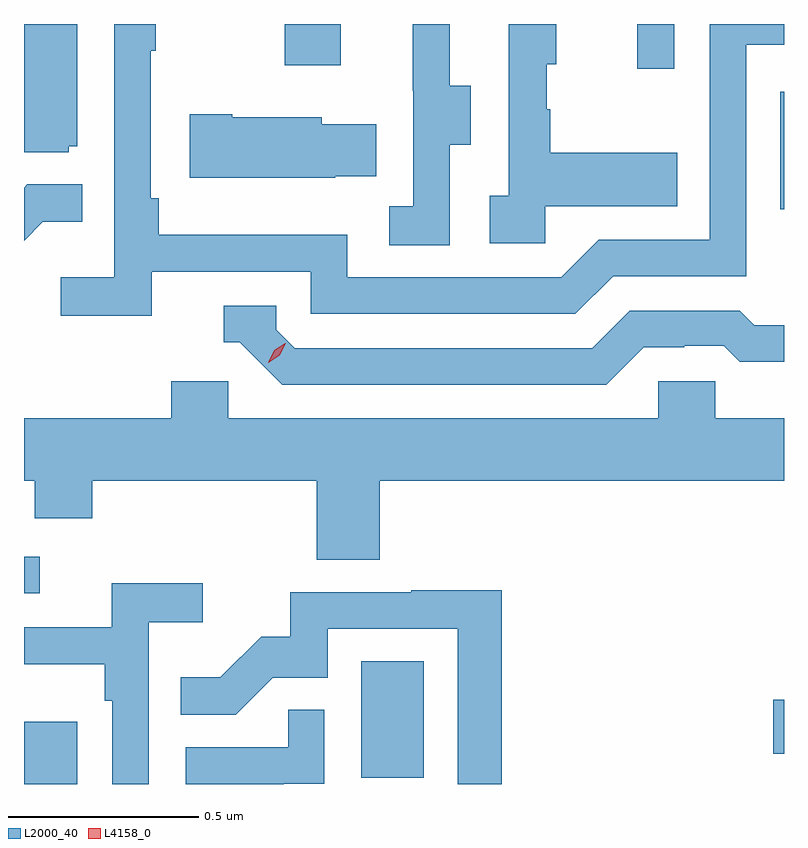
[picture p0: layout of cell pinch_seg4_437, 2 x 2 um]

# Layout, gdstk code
import gdstk
lib = gdstk.Library(unit=1e-6, precision=1e-09)
def R(c, l, rs):  # rectangles x0, y0, x1, y1
    for r in rs: c.add(gdstk.rectangle(r[:2], r[2:], *l))
def P(c, l, *ps):  # polygons
    for p in ps: c.add(gdstk.Polygon(p, *l))
L2000_40 = (2000, 40)
L4158_0 = (4158, 0)

pinch_seg4_437 = lib.new_cell('pinch_seg4_437')
R(pinch_seg4_437, L2000_40, [(913.28,785.366,913.42,785.53), (914.168,785.382,914.332,785.689), (915.252,785.446,915.28,785.588), (913.28,785.868,913.321,785.964), (915.27,786.879,915.28,787.188), (914.894,787.248,914.991,787.366), (913.966,787.257,914.113,787.366)])
P(pinch_seg4_437, L2000_40, [(913.616,786.714),(914.034,786.714),(914.034,786.603),(914.731,786.603),(914.83,786.702),(915.18,786.702),(915.18,787.311),(915.28,787.311),(915.28,787.366),(915.084,787.366),(915.084,786.798),(914.793,786.798),(914.694,786.699),(914.13,786.699),(914.13,786.811),(913.634,786.811),(913.634,786.907),(913.614,786.907),(913.614,787.295),(913.627,787.295),(913.627,787.366),(913.518,787.366),(913.518,786.7),(913.377,786.7),(913.377,786.598),(913.616,786.598)],
  [(914.652,786.887),(914.999,786.887),(914.999,787.027),(914.665,787.027),(914.665,787.142),(914.655,787.142),(914.655,787.26),(914.68,787.26),(914.68,787.366),(914.556,787.366),(914.556,786.914),(914.505,786.914),(914.505,786.789),(914.652,786.789)],
  [(913.398,787.044),(913.42,787.044),(913.42,787.366),(913.28,787.366),(913.28,787.029),(913.398,787.029)],
  [(914.4,787.048),(914.455,787.048),(914.455,787.203),(914.401,787.203),(914.401,787.366),(914.303,787.366),(914.303,787.191),(914.304,787.191),(914.304,786.887),(914.241,786.887),(914.241,786.784),(914.4,786.784)],
  [(914.099,786.965),(914.207,786.965),(914.207,787.102),(914.064,787.102),(914.064,787.12),(913.828,787.12),(913.828,787.128),(913.716,787.128),(913.716,786.962),(914.099,786.962)],
  [(913.329,786.845),(913.433,786.845),(913.433,786.944),(913.289,786.944),(913.28,786.935),(913.28,786.796)],
  [(914.911,786.516),(915.018,786.516),(915.018,786.519),(915.121,786.519),(915.163,786.477),(915.28,786.477),(915.28,786.573),(915.202,786.573),(915.163,786.612),(914.874,786.612),(914.775,786.513),(913.992,786.513),(913.944,786.561),(913.944,786.624),(913.805,786.624),(913.805,786.528),(913.848,786.528),(913.959,786.417),(914.812,786.417)],
  [(914.216,786.164),(915.28,786.164),(915.28,786.328),(915.099,786.328),(915.099,786.426),(914.949,786.426),(914.949,786.328),(913.818,786.328),(913.818,786.426),(913.667,786.426),(913.667,786.328),(913.28,786.328),(913.28,786.164),(913.308,786.164),(913.308,786.066),(913.46,786.066),(913.46,786.164),(914.051,786.164),(914.051,785.956),(914.216,785.956)],
  [(913.608,785.792),(913.75,785.792),(913.75,785.894),(913.511,785.894),(913.511,785.778),(913.28,785.778),(913.28,785.681),(913.492,785.681),(913.492,785.585),(913.512,785.585),(913.512,785.366),(913.608,785.366)],
  [(914.537,785.876),(914.299,785.876),(914.299,785.871),(913.981,785.871),(913.981,785.754),(913.904,785.754),(913.797,785.647),(913.693,785.647),(913.693,785.548),(913.837,785.548),(913.935,785.646),(914.079,785.646),(914.079,785.775),(914.421,785.775),(914.421,785.366),(914.537,785.366)],
  [(913.964,785.367),(914.07,785.367),(914.07,785.561),(913.975,785.561),(913.975,785.463),(913.706,785.463),(913.706,785.366),(913.964,785.366)])
P(pinch_seg4_437, L4158_0, [(913.923,786.474),(913.923,786.474),(913.938,786.507),(913.968,786.526),(913.969,786.526),(913.969,786.526),(913.953,786.494),(913.923,786.474)])

lib.write_gds('pinch_seg4_437.gds')
